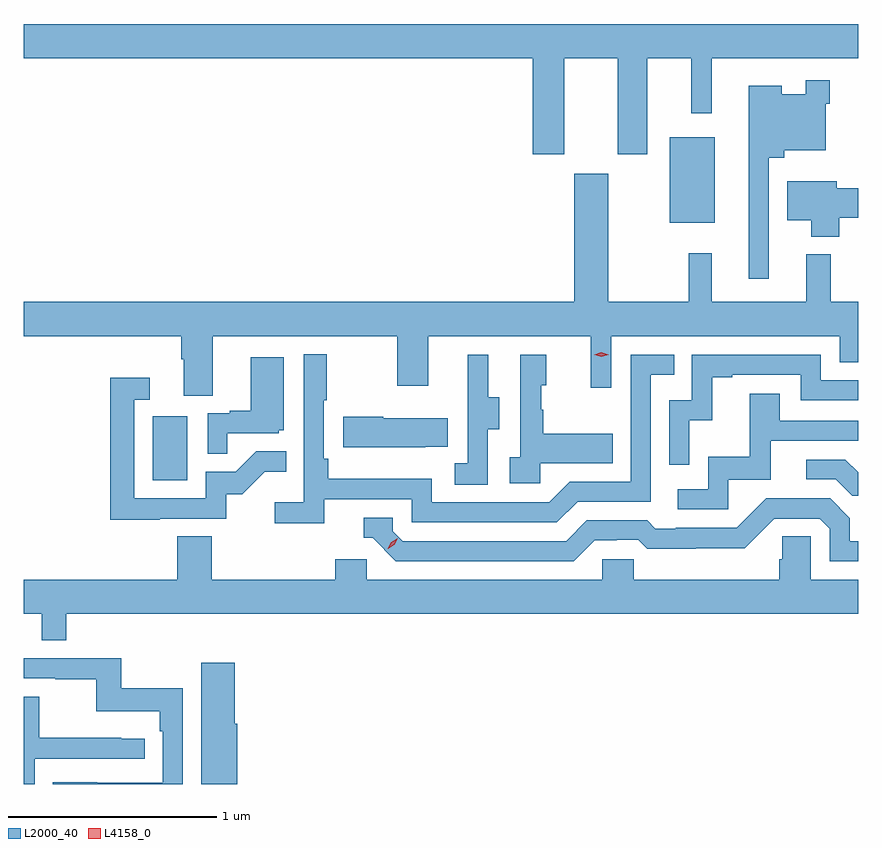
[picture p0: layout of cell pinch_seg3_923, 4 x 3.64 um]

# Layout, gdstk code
import gdstk
lib = gdstk.Library(unit=1e-6, precision=1e-09)
def R(c, l, rs):  # rectangles x0, y0, x1, y1
    for r in rs: c.add(gdstk.rectangle(r[:2], r[2:], *l))
def P(c, l, *ps):  # polygons
    for p in ps: c.add(gdstk.Polygon(p, *l))
L2000_40 = (2000, 40)
L4158_0 = (4158, 0)

pinch_seg3_923 = lib.new_cell('pinch_seg3_923')
R(pinch_seg3_923, L2000_40, [(886.376,674.916,886.54,675.223), (888.854,676.151,889.069,676.561)])
P(pinch_seg3_923, L2000_40, [(888.349,676.94),(888.605,676.94),(888.605,676.479),(888.745,676.479),(888.745,676.94),(888.956,676.94),(888.956,676.677),(889.054,676.677),(889.054,676.94),(889.757,676.94),(889.757,677.104),(885.757,677.104),(885.757,676.94),(888.197,676.94),(888.197,676.479),(888.349,676.479)],
  [(889.329,676.463),(889.403,676.463),(889.403,676.499),(889.602,676.499),(889.602,676.721),(889.622,676.721),(889.622,676.834),(889.506,676.834),(889.506,676.768),(889.39,676.768),(889.39,676.807),(889.232,676.807),(889.232,675.882),(889.329,675.882)],
  [(886.663,675.608),(887.548,675.608),(887.548,675.369),(887.695,675.369),(887.695,675.608),(888.476,675.608),(888.476,675.36),(888.573,675.36),(888.573,675.608),(889.668,675.608),(889.668,675.481),(889.757,675.481),(889.757,675.772),(889.625,675.772),(889.625,676),(889.508,676),(889.508,675.772),(889.055,675.772),(889.055,676.006),(888.945,676.006),(888.945,675.772),(888.559,675.772),(888.559,676.387),(888.395,676.387),(888.395,675.772),(885.757,675.772),(885.757,675.608),(886.511,675.608),(886.511,675.496),(886.523,675.496),(886.523,675.322),(886.663,675.322)],
  [(889.667,676.174),(889.757,676.174),(889.757,676.316),(889.654,676.316),(889.654,676.351),(889.418,676.351),(889.418,676.163),(889.532,676.163),(889.532,676.085),(889.667,676.085)],
  [(887.198,674.826),(887.616,674.826),(887.616,674.715),(888.313,674.715),(888.412,674.814),(888.762,674.814),(888.762,675.423),(888.875,675.423),(888.875,675.519),(888.666,675.519),(888.666,674.91),(888.375,674.91),(888.276,674.811),(887.712,674.811),(887.712,674.923),(887.216,674.923),(887.216,675.019),(887.196,675.019),(887.196,675.301),(887.209,675.301),(887.209,675.52),(887.1,675.52),(887.1,674.812),(886.959,674.812),(886.959,674.71),(887.198,674.71)],
  [(888.948,675.203),(889.058,675.203),(889.058,675.411),(889.153,675.411),(889.153,675.423),(889.482,675.423),(889.482,675.3),(889.757,675.3),(889.757,675.396),(889.578,675.396),(889.578,675.519),(888.96,675.519),(888.96,675.3),(888.852,675.3),(888.852,674.991),(888.948,674.991)],
  [(888.234,674.999),(888.581,674.999),(888.581,675.139),(888.247,675.139),(888.247,675.254),(888.237,675.254),(888.237,675.372),(888.262,675.372),(888.262,675.517),(888.138,675.517),(888.138,675.026),(888.087,675.026),(888.087,674.901),(888.234,674.901)],
  [(887.982,675.16),(888.037,675.16),(888.037,675.315),(887.983,675.315),(887.983,675.517),(887.885,675.517),(887.885,675.303),(887.886,675.303),(887.886,674.999),(887.823,674.999),(887.823,674.896),(887.982,674.896)],
  [(886.733,675.141),(886.98,675.141),(886.98,675.156),(887.002,675.156),(887.002,675.505),(886.844,675.505),(886.844,675.25),(886.745,675.25),(886.745,675.237),(886.638,675.237),(886.638,675.043),(886.733,675.043)],
  [(886.409,674.733),(886.728,674.733),(886.728,674.85),(886.804,674.85),(886.911,674.957),(887.015,674.957),(887.015,675.056),(886.871,675.056),(886.773,674.958),(886.629,674.958),(886.629,674.829),(886.287,674.829),(886.287,675.303),(886.36,675.303),(886.36,675.409),(886.171,675.409),(886.171,674.728),(886.409,674.728)],
  [(889.134,674.919),(889.339,674.919),(889.339,675.105),(889.757,675.105),(889.757,675.201),(889.381,675.201),(889.381,675.331),(889.237,675.331),(889.237,675.028),(889.038,675.028),(889.038,674.874),(888.891,674.874),(888.891,674.778),(889.134,674.778)],
  [(887.681,675.077),(887.789,675.077),(887.789,675.214),(887.479,675.214),(887.479,675.222),(887.288,675.222),(887.288,675.074),(887.681,675.074)],
  [(889.757,674.954),(889.696,675.015),(889.509,675.015),(889.509,674.922),(889.65,674.922),(889.73,674.842),(889.757,674.842)],
  [(888.493,674.628),(888.6,674.628),(888.6,674.631),(888.703,674.631),(888.745,674.589),(888.978,674.589),(888.978,674.591),(889.214,674.591),(889.356,674.733),(889.572,674.733),(889.62,674.685),(889.62,674.529),(889.757,674.529),(889.757,674.625),(889.717,674.625),(889.717,674.735),(889.623,674.829),(889.317,674.829),(889.176,674.688),(888.883,674.688),(888.883,674.685),(888.784,674.685),(888.745,674.724),(888.456,674.724),(888.357,674.625),(887.574,674.625),(887.526,674.673),(887.526,674.736),(887.387,674.736),(887.387,674.64),(887.43,674.64),(887.541,674.529),(888.394,674.529)],
  [(885.959,674.276),(889.757,674.276),(889.757,674.44),(889.53,674.44),(889.53,674.648),(889.393,674.648),(889.393,674.538),(889.379,674.538),(889.379,674.44),(888.681,674.44),(888.681,674.538),(888.531,674.538),(888.531,674.44),(887.4,674.44),(887.4,674.538),(887.249,674.538),(887.249,674.44),(886.658,674.44),(886.658,674.648),(886.493,674.648),(886.493,674.44),(885.757,674.44),(885.757,674.276),(885.843,674.276),(885.843,674.149),(885.959,674.149)],
  [(886.518,673.918),(886.225,673.918),(886.225,674.064),(885.757,674.064),(885.757,673.968),(885.907,673.968),(885.907,673.963),(886.104,673.963),(886.104,673.808),(886.409,673.808),(886.409,673.712),(886.422,673.712),(886.422,673.467),(886.109,673.467),(886.109,673.468),(885.895,673.468),(885.895,673.46),(886.518,673.46)],
  [(886.78,673.749),(886.768,673.749),(886.768,674.041),(886.607,674.041),(886.607,673.46),(886.78,673.46)],
  [(885.81,673.581),(886.336,673.581),(886.336,673.677),(886.223,673.677),(886.223,673.682),(885.83,673.682),(885.83,673.878),(885.757,673.878),(885.757,673.46),(885.81,673.46)])
P(pinch_seg3_923, L4158_0, [(888.526,675.509),(888.491,675.519),(888.491,675.519),(888.491,675.519),(888.526,675.529),(888.561,675.519),(888.561,675.519),(888.561,675.519)],
  [(887.502,674.587),(887.502,674.588),(887.519,674.62),(887.55,674.639),(887.55,674.639),(887.55,674.639),(887.533,674.606),(887.503,674.587)])

lib.write_gds('pinch_seg3_923.gds')
